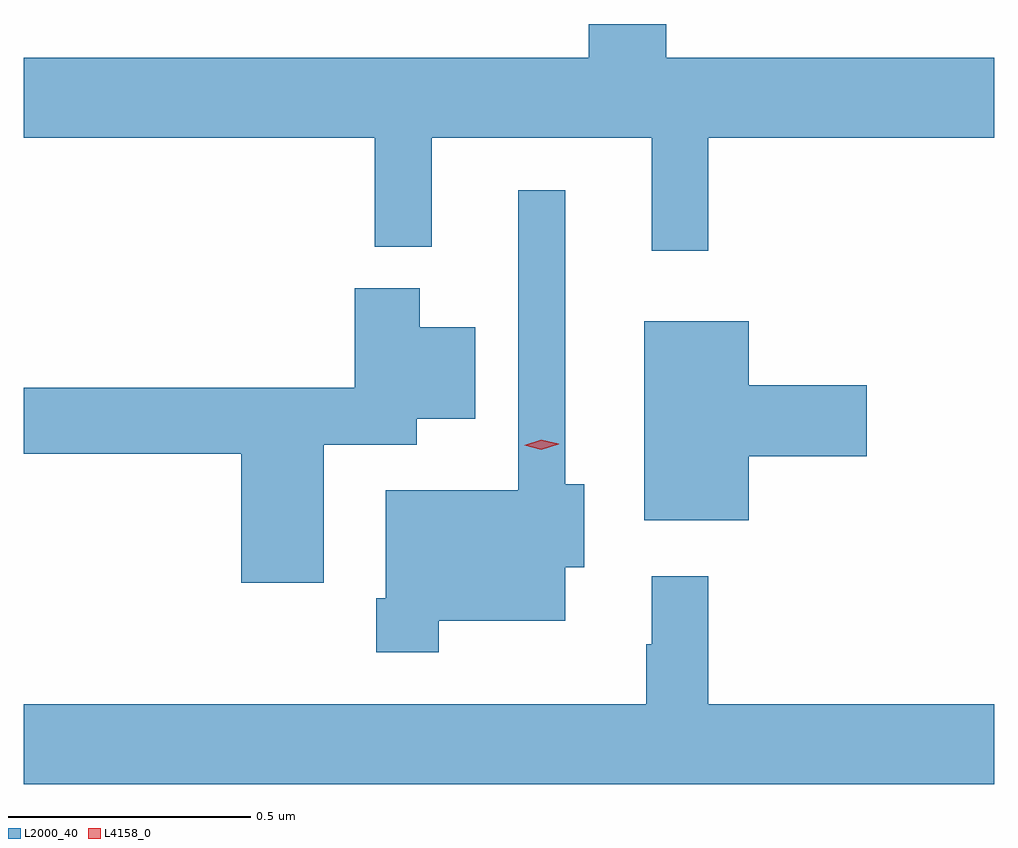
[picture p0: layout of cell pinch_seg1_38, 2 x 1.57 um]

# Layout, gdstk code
import gdstk
lib = gdstk.Library(unit=1e-6, precision=1e-09)
def P(c, l, *ps):  # polygons
    for p in ps: c.add(gdstk.Polygon(p, *l))
L2000_40 = (2000, 40)
L4158_0 = (4158, 0)

pinch_seg1_38 = lib.new_cell('pinch_seg1_38')
P(pinch_seg1_38, L2000_40, [(1095.365,566.384),(1095.954,566.384),(1095.954,566.548),(1095.278,566.548),(1095.278,566.618),(1095.118,566.618),(1095.118,566.548),(1093.954,566.548),(1093.954,566.384),(1094.677,566.384),(1094.677,566.159),(1094.795,566.159),(1094.795,566.384),(1095.248,566.384),(1095.248,566.151),(1095.365,566.151)],
  [(1094.809,565.388),(1095.07,565.388),(1095.07,565.499),(1095.109,565.499),(1095.109,565.67),(1095.07,565.67),(1095.07,566.275),(1094.973,566.275),(1094.973,565.657),(1094.7,565.657),(1094.7,565.435),(1094.68,565.435),(1094.68,565.323),(1094.809,565.323)],
  [(1094.572,565.751),(1094.764,565.751),(1094.764,565.805),(1094.884,565.805),(1094.884,565.993),(1094.77,565.993),(1094.77,566.074),(1094.636,566.074),(1094.636,565.868),(1093.954,565.868),(1093.954,565.732),(1094.402,565.732),(1094.402,565.467),(1094.572,565.467)],
  [(1095.448,565.727),(1095.691,565.727),(1095.691,565.874),(1095.448,565.874),(1095.448,566.005),(1095.233,566.005),(1095.233,565.595),(1095.448,565.595)],
  [(1095.954,565.216),(1095.365,565.216),(1095.365,565.48),(1095.248,565.48),(1095.248,565.34),(1095.237,565.34),(1095.237,565.216),(1093.954,565.216),(1093.954,565.052),(1095.954,565.052)])
P(pinch_seg1_38, L4158_0, [(1095.02,565.741),(1094.985,565.75),(1094.984,565.75),(1094.985,565.75),(1095.02,565.761),(1095.056,565.753),(1095.056,565.753),(1095.056,565.752)])

lib.write_gds('pinch_seg1_38.gds')
